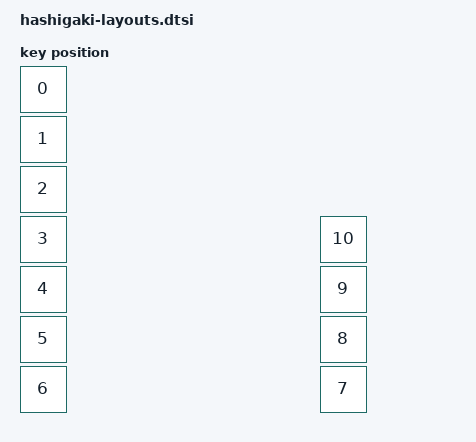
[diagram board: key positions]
#include <physical_layouts.dtsi>

/ {
    hashigaki_position_map {
        compatible = "zmk,physical-layout-position-map";
        complete;

        pinout_map: pinout_positions {
            physical-layout = <&physical_layout0>;
            positions = <0 1 2 3 4 5 6 7 8 9 10>;
        };
    };

    physical_layout0: physical_layout_0 {
        compatible = "zmk,physical-layout";
        display-name = "XIAO Pinout";

        // Map key positions to the XIAO pinout.
        keys  //                     w   h    x    y    rot   rx   ry
            = <&key_physical_attrs 100 100    0    0      0    0    0>
            , <&key_physical_attrs 100 100    0  100      0    0    0>
            , <&key_physical_attrs 100 100    0  200      0    0    0>
            , <&key_physical_attrs 100 100    0  300      0    0    0>
            , <&key_physical_attrs 100 100    0  400      0    0    0>
            , <&key_physical_attrs 100 100    0  500      0    0    0>
            , <&key_physical_attrs 100 100    0  600      0    0    0>
            , <&key_physical_attrs 100 100  600  600      0    0    0>
            , <&key_physical_attrs 100 100  600  500      0    0    0>
            , <&key_physical_attrs 100 100  600  400      0    0    0>
            , <&key_physical_attrs 100 100  600  300      0    0    0>
            ;
    };
};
